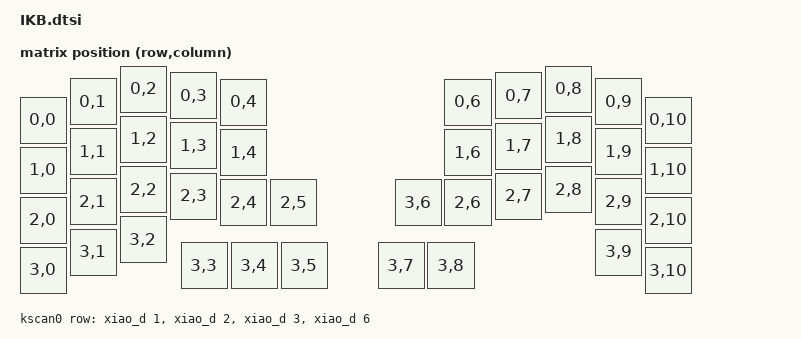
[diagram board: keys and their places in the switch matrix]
/* =========================================================
 * Date: 2026-04-12 18:30
 * Filename: config/boards/shields/Test/IKB.dtsi
 * @details
 * info.jsonから抽出した精密な座標データを physical_layout に適用しました。
 * これにより ZMK Studio 上で実機と全く同じエルゴノミクス配置が表示されます。
 * 合わせて、Zephyr 4.1.0で非推奨となった kscan の label プロパティを削除し
 * ビルド時の警告（deprecated warning）が出ないように修正しました。
 * ========================================================= */

#include <dt-bindings/zmk/matrix_transform.h>
#include <physical_layouts.dtsi>

/ {
    chosen {
        zmk,physical-layout = &ikb_physical_layout;
    };
    
    ikb_physical_layout: ikb_physical_layout {
        compatible = "zmk,physical-layout";
        display-name = "IKB Custom Layout";
        transform = <&default_transform>;
        kscan = <&kscan0>;

        /* * フォーマット: <&key_physical_attrs 幅 高さ X座標 Y座標 回転角 Rx Ry>
         * 単位: 100 = 1U
         */
        keys
            /* === 1段目 === */
            = <&key_physical_attrs 100 100    0   62    0  0  0>  // RC(0,0)
            , <&key_physical_attrs 100 100  100   25    0  0  0>  // RC(0,1)
            , <&key_physical_attrs 100 100  201    0    0  0  0>  // RC(0,2)
            , <&key_physical_attrs 100 100  301   13    0  0  0>  // RC(0,3)
            , <&key_physical_attrs 100 100  401   26    0  0  0>  // RC(0,4)

            , <&key_physical_attrs 100 100  850   26    0  0  0>  // RC(0,6)
            , <&key_physical_attrs 100 100  951   13    0  0  0>  // RC(0,7)
            , <&key_physical_attrs 100 100 1051    0    0  0  0>  // RC(0,8)
            , <&key_physical_attrs 100 100 1151   25    0  0  0>  // RC(0,9)
            , <&key_physical_attrs 100 100 1251   62    0  0  0>  // RC(0,10)

            /* === 2段目 === */
            , <&key_physical_attrs 100 100    0  162    0  0  0>  // RC(1,0)
            , <&key_physical_attrs 100 100  100  125    0  0  0>  // RC(1,1)
            , <&key_physical_attrs 100 100  201  100    0  0  0>  // RC(1,2)
            , <&key_physical_attrs 100 100  301  113    0  0  0>  // RC(1,3)
            , <&key_physical_attrs 100 100  401  127    0  0  0>  // RC(1,4)

            , <&key_physical_attrs 100 100  850  127    0  0  0>  // RC(1,6)
            , <&key_physical_attrs 100 100  951  114    0  0  0>  // RC(1,7)
            , <&key_physical_attrs 100 100 1051  100    0  0  0>  // RC(1,8)
            , <&key_physical_attrs 100 100 1151  125    0  0  0>  // RC(1,9)
            , <&key_physical_attrs 100 100 1251  162    0  0  0>  // RC(1,10)

            /* === 3段目 === */
            , <&key_physical_attrs 100 100    0  262    0  0  0>  // RC(2,0)
            , <&key_physical_attrs 100 100  100  225    0  0  0>  // RC(2,1)
            , <&key_physical_attrs 100 100  201  201    0  0  0>  // RC(2,2)
            , <&key_physical_attrs 100 100  301  214    0  0  0>  // RC(2,3)
            , <&key_physical_attrs 100 100  401  227    0  0  0>  // RC(2,4)
            , <&key_physical_attrs 100 100  501  227    0  0  0>  // RC(2,5)

            , <&key_physical_attrs 100 100  750  227    0  0  0>  // RC(3,6)
            , <&key_physical_attrs 100 100  850  227    0  0  0>  // RC(2,6)
            , <&key_physical_attrs 100 100  951  214    0  0  0>  // RC(2,7)
            , <&key_physical_attrs 100 100 1051  201    0  0  0>  // RC(2,8)
            , <&key_physical_attrs 100 100 1151  225    0  0  0>  // RC(2,9)
            , <&key_physical_attrs 100 100 1251  262    0  0  0>  // RC(2,10)

            /* === 4段目 === */
            , <&key_physical_attrs 100 100    0  362    0  0  0>  // RC(3,0)
            , <&key_physical_attrs 100 100  100  326    0  0  0>  // RC(3,1)
            , <&key_physical_attrs 100 100  200  301    0  0  0>  // RC(3,2)

            , <&key_physical_attrs 100 100  322  353    0  0  0>  // RC(3,3)
            , <&key_physical_attrs 100 100  422  353    0  0  0>  // RC(3,4)
            , <&key_physical_attrs 100 100  522  353    0  0  0>  // RC(3,5)

            , <&key_physical_attrs 100 100  716  353    0  0  0>  // RC(3,7)
            , <&key_physical_attrs 100 100  816  353    0  0  0>  // RC(3,8)
            
            , <&key_physical_attrs 100 100 1151  326    0  0  0>  // RC(3,9)
            , <&key_physical_attrs 100 100 1251  363    0  0  0>  // RC(3,10)
            ;
    };

    default_transform: keymap_transform_0 {
        compatible = "zmk,matrix-transform";
        columns = <11>;
        rows = <4>;               
        map = <
            RC(0,0) RC(0,1) RC(0,2) RC(0,3) RC(0,4)                     RC(0,6) RC(0,7) RC(0,8) RC(0,9) RC(0,10)
            RC(1,0) RC(1,1) RC(1,2) RC(1,3) RC(1,4)                     RC(1,6) RC(1,7) RC(1,8) RC(1,9) RC(1,10)
            RC(2,0) RC(2,1) RC(2,2) RC(2,3) RC(2,4) RC(2,5)     RC(3,6) RC(2,6) RC(2,7) RC(2,8) RC(2,9) RC(2,10)
            RC(3,0) RC(3,1) RC(3,2) RC(3,3) RC(3,4) RC(3,5)     RC(3,7) RC(3,8)                 RC(3,9) RC(3,10)         
        >;
    };
    
    kscan0: kscan {
        compatible = "zmk,kscan-gpio-matrix";
        /* label = "KSCAN"; は非推奨のため削除しました */
        diode-direction = "col2row";
        row-gpios
            = <&xiao_d 1 (GPIO_ACTIVE_HIGH | GPIO_PULL_DOWN)> 
            , <&xiao_d 2 (GPIO_ACTIVE_HIGH | GPIO_PULL_DOWN)> 
            , <&xiao_d 3 (GPIO_ACTIVE_HIGH | GPIO_PULL_DOWN)> 
            , <&xiao_d 6 (GPIO_ACTIVE_HIGH | GPIO_PULL_DOWN)> 			
            ;
    };

/*
    left_encoder: encoder_left {
        compatible = "alps,ec11";
        a-gpios = <&xiao_d 5 (GPIO_ACTIVE_HIGH | GPIO_PULL_UP)>;
        b-gpios = <&xiao_d 0 (GPIO_ACTIVE_HIGH | GPIO_PULL_UP)>;
        steps = <12>;
        status = "disabled";
    };

    right_encoder: encoder_right {
        status = "disabled";
    };

    sensors: sensors {
        compatible = "zmk,keymap-sensors";
        sensors = <&left_encoder &right_encoder>;
        triggers-per-rotation = <10>;
    };
*/

};
